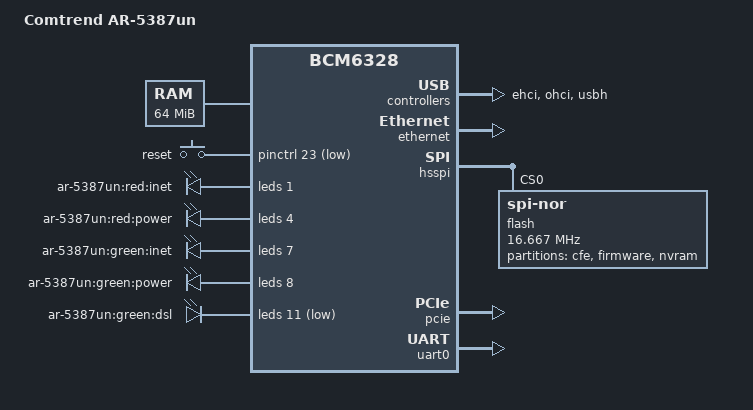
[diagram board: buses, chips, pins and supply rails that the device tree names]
// SPDX-License-Identifier: GPL-2.0-or-later

/dts-v1/;

#include "bcm6328.dtsi"

#include <dt-bindings/input/input.h>

/ {
	model = "Comtrend AR-5387un";
	compatible = "comtrend,ar-5387un", "brcm,bcm6328";

	aliases {
		led-boot = &led_power_green;
		led-failsafe = &led_power_green;
		led-running = &led_power_green;
		led-upgrade = &led_power_green;
	};

	chosen {
		bootargs = "console=ttyS0,115200 earlycon";
	};

	memory@0 {
		device_type = "memory";
		reg = <0x00000000 0x04000000>;
	};

	keys {
		compatible = "gpio-keys-polled";
		#address-cells = <1>;
		#size-cells = <0>;
		poll-interval = <20>;

		reset {
			label = "reset";
			gpios = <&pinctrl 23 1>;
			linux,code = <KEY_RESTART>;
			debounce-interval = <60>;
		};
	};

	bcm43225-sprom {
		compatible = "brcm,bcm43225-sprom";

		pci-bus = <1>;
		pci-dev = <0>;

		mtd-mac-address = <&cfe 0x6a0>;
		mtd-mac-address-increment = <1>;

		brcm,sprom-fixups = <2 0x05bb>,
				    <65 0x1204>,
				    <78 0x0202>,
				    <79 0x0202>,
				    <80 0xff02>,
				    <87 0x0315>,
				    <88 0x0315>,
				    <96 0x2048>,
				    <97 0xff11>,
				    <98 0x1567>,
				    <99 0xfb24>,
				    <100 0x3e3c>,
				    <101 0x4038>,
				    <102 0xfe7f>,
				    <103 0x1279>,
				    <112 0x2048>,
				    <113 0xff03>,
				    <114 0x154c>,
				    <115 0xfb27>,
				    <116 0x3e3c>,
				    <117 0x4038>,
				    <118 0xfe87>,
				    <119 0x1233>,
				    <203 0x2226>;
	};
};

&ehci {
	status = "okay";
};

&ethernet {
	status = "okay";

	mtd-mac-address = <&cfe 0x6a0>;

	ports {
		#address-cells = <1>;
		#size-cells = <0>;

		port@0 {
			reg = <0>;
			label = "fe1";
			brcm,phy-id = <1>;
		};

		port@1 {
			reg = <1>;
			label = "fe2";
			brcm,phy-id = <2>;
		};

		port@2 {
			reg = <2>;
			label = "fe3";
			brcm,phy-id = <3>;
		};

		port@3 {
			reg = <3>;
			label = "fe4";
			brcm,phy-id = <4>;
		};
	};
};

&hsspi {
	status = "okay";

	flash@0 {
		compatible = "jedec,spi-nor";
		spi-max-frequency = <16666667>;
		spi-tx-bus-width = <2>;
		spi-rx-bus-width = <2>;
		reg = <0>;

		#address-cells = <1>;
		#size-cells = <1>;

		partitions {
			compatible = "fixed-partitions";
			#address-cells = <1>;
			#size-cells = <1>;

			cfe: partition@0 {
				reg = <0x000000 0x010000>;
				label = "cfe";
				read-only;
			};

			partition@10000 {
				compatible = "brcm,bcm963xx-imagetag";
				reg = <0x010000 0xfe0000>;
				label = "firmware";
			};

			partition@ff0000 {
				reg = <0xff0000 0x010000>;
				label = "nvram";
			};
		};
	};
};

&leds {
	status = "okay";

	pinctrl-names = "default";
	pinctrl-0 = <&pinctrl_leds>;

	led@1 {
		reg = <1>;
		label = "ar-5387un:red:inet";
	};

	led@4 {
		reg = <4>;
		label = "ar-5387un:red:power";
	};

	led@7 {
		reg = <7>;
		label = "ar-5387un:green:inet";
	};

	led_power_green: led@8 {
		reg = <8>;
		label = "ar-5387un:green:power";
		default-state = "on";
	};

	led@11 {
		reg = <11>;
		active-low;
		label = "ar-5387un:green:dsl";
	};
};

&ohci {
	status = "okay";
};

&pcie {
	status = "okay";
};

&pinctrl {
	pinctrl_leds: leds {
		function = "led";
		pins = "gpio1", "gpio4", "gpio7",
		       "gpio8", "gpio11";
	};
};

&uart0 {
	status = "okay";
};

&usbh {
	status = "okay";
};
